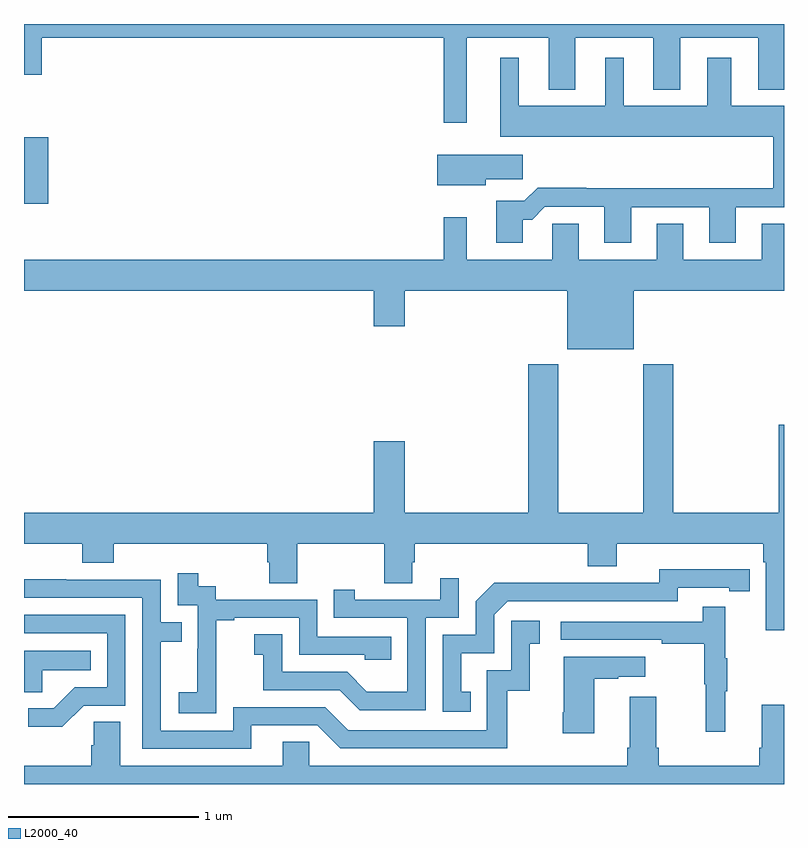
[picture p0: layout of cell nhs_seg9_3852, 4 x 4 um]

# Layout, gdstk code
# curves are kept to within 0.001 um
import gdstk
lib = gdstk.Library(unit=1e-6, precision=1e-09)
def R(c, l, rs):  # rectangles x0, y0, x1, y1
    for r in rs: c.add(gdstk.rectangle(r[:2], r[2:], *l))
def P(c, l, *ps):  # polygons
    for p in ps: c.add(gdstk.Polygon(p, *l))
L2000_40 = (2000, 40)

nhs_seg9_3852 = lib.new_cell('nhs_seg9_3852')
R(nhs_seg9_3852, L2000_40, [(331,1187.553,331.127,1187.905)])
P(nhs_seg9_3852, L2000_40, [(333.331,1188.428),(333.761,1188.428),(333.761,1188.155),(333.901,1188.155),(333.901,1188.428),(334.313,1188.428),(334.313,1188.155),(334.453,1188.155),(334.453,1188.428),(334.865,1188.428),(334.865,1188.155),(335,1188.155),(335,1188.5),(331,1188.5),(331,1188.234),(331.094,1188.234),(331.094,1188.428),(333.21,1188.428),(333.21,1187.979),(333.331,1187.979)],
  [(333.625,1187.471),(333.674,1187.471),(333.741,1187.538),(334.055,1187.538),(334.055,1187.349),(334.195,1187.349),(334.195,1187.535),(334.607,1187.535),(334.607,1187.349),(334.747,1187.349),(334.747,1187.535),(335,1187.535),(335,1188.07),(334.723,1188.07),(334.723,1188.322),(334.595,1188.322),(334.595,1188.07),(334.156,1188.07),(334.156,1188.322),(334.058,1188.322),(334.058,1188.07),(333.604,1188.07),(333.604,1188.322),(333.506,1188.322),(333.506,1187.906),(334.943,1187.906),(334.943,1187.636),(333.959,1187.636),(333.959,1187.639),(333.704,1187.639),(333.634,1187.569),(333.485,1187.569),(333.485,1187.349),(333.625,1187.349)],
  [(333.43,1187.683),(333.625,1187.683),(333.625,1187.812),(333.176,1187.812),(333.176,1187.651),(333.43,1187.651)],
  [(334.21,1187.096),(335,1187.096),(335,1187.45),(334.883,1187.45),(334.883,1187.26),(334.471,1187.26),(334.471,1187.45),(334.331,1187.45),(334.331,1187.26),(333.919,1187.26),(333.919,1187.45),(333.78,1187.45),(333.78,1187.26),(333.331,1187.26),(333.331,1187.482),(333.21,1187.482),(333.21,1187.26),(331,1187.26),(331,1187.096),(332.84,1187.096),(332.84,1186.908),(333.004,1186.908),(333.004,1187.096),(333.86,1187.096),(333.86,1186.787),(334.21,1186.787)],
  [(335,1186.39),(334.973,1186.39),(334.973,1185.928),(334.418,1185.928),(334.418,1186.708),(334.258,1186.708),(334.258,1185.928),(333.813,1185.928),(333.813,1186.708),(333.653,1186.708),(333.653,1185.928),(333.004,1185.928),(333.004,1186.303),(332.84,1186.303),(332.84,1185.928),(331,1185.928),(331,1185.764),(331.307,1185.764),(331.307,1185.665),(331.472,1185.665),(331.472,1185.764),(332.279,1185.764),(332.279,1185.666),(332.291,1185.666),(332.291,1185.556),(332.439,1185.556),(332.439,1185.764),(332.896,1185.764),(332.896,1185.556),(333.043,1185.556),(333.043,1185.666),(333.056,1185.666),(333.056,1185.764),(333.968,1185.764),(333.968,1185.647),(334.12,1185.647),(334.12,1185.764),(334.892,1185.764),(334.892,1185.668),(334.905,1185.668),(334.905,1185.309),(335,1185.309)],
  [(333.35,1184.985),(333.301,1184.985),(333.301,1185.189),(333.474,1185.189),(333.474,1185.39),(333.546,1185.462),(334.44,1185.462),(334.44,1185.534),(334.712,1185.534),(334.712,1185.514),(334.82,1185.514),(334.82,1185.63),(334.344,1185.631),(334.344,1185.558),(333.884,1185.558),(333.884,1185.56),(333.476,1185.56),(333.378,1185.462),(333.378,1185.285),(333.204,1185.285),(333.204,1184.88),(333.35,1184.88)],
  [(332.013,1185.079),(332.012,1185.079),(332.012,1185.363),(332.107,1185.363),(332.107,1185.375),(332.448,1185.375),(332.448,1185.18),(332.793,1185.18),(332.793,1185.153),(332.933,1185.153),(332.933,1185.276),(332.544,1185.276),(332.544,1185.471),(332.01,1185.471),(332.01,1185.54),(331.918,1185.54),(331.918,1185.61),(331.809,1185.61),(331.809,1185.441),(331.914,1185.441),(331.914,1185.212),(331.913,1185.212),(331.913,1184.983),(331.815,1184.983),(331.815,1184.873),(332.013,1184.873)],
  [(333.114,1185.375),(333.288,1185.375),(333.288,1185.583),(333.191,1185.583),(333.191,1185.471),(332.74,1185.471),(332.74,1185.523),(332.629,1185.523),(332.629,1185.375),(333.018,1185.375),(333.018,1184.986),(332.804,1184.986),(332.7,1185.09),(332.358,1185.09),(332.358,1185.289),(332.211,1185.289),(332.211,1185.179),(332.26,1185.179),(332.26,1184.994),(332.663,1184.994),(332.768,1184.889),(333.114,1184.889)],
  [(332.197,1184.808),(332.544,1184.808),(332.664,1184.688),(333.544,1184.688),(333.544,1184.991),(333.662,1184.991),(333.662,1185.237),(333.715,1185.237),(333.715,1185.358),(333.564,1185.358),(333.564,1185.099),(333.435,1185.099),(333.435,1184.784),(332.706,1184.784),(332.586,1184.904),(332.1,1184.904),(332.1,1184.781),(331.719,1184.781),(331.719,1185.25),(331.829,1185.25),(331.829,1185.351),(331.719,1185.351),(331.719,1185.576),(331.223,1185.576),(331.223,1185.578),(331,1185.578),(331,1185.48),(331.623,1185.48),(331.623,1184.685),(332.197,1184.685)],
  [(334.691,1184.987),(334.702,1184.987),(334.702,1185.161),(334.691,1185.161),(334.691,1185.433),(334.573,1185.433),(334.573,1185.354),(333.825,1185.354),(333.825,1185.258),(334.357,1185.258),(334.357,1185.238),(334.581,1185.238),(334.581,1185.024),(334.588,1185.024),(334.588,1184.775),(334.691,1184.775)],
  [(331.314,1184.913),(331.533,1184.913),(331.533,1185.39),(331,1185.39),(331,1185.294),(331.437,1185.294),(331.437,1185.009),(331.268,1185.009),(331.157,1184.898),(331.023,1184.898),(331.023,1184.801),(331.201,1184.801)],
  [(331.095,1185.098),(331.352,1185.098),(331.352,1185.202),(331,1185.202),(331,1184.983),(331.095,1184.983)],
  [(334,1185.055),(334.127,1185.055),(334.127,1185.065),(334.27,1185.065),(334.27,1185.169),(333.842,1185.169),(333.842,1184.878),(333.835,1184.878),(333.835,1184.766),(334,1184.766)],
  [(335,1184.917),(334.883,1184.917),(334.883,1184.692),(334.871,1184.692),(334.871,1184.596),(334.34,1184.596),(334.34,1184.692),(334.327,1184.692),(334.327,1184.959),(334.187,1184.959),(334.187,1184.692),(334.175,1184.692),(334.175,1184.596),(332.502,1184.596),(332.502,1184.723),(332.363,1184.723),(332.363,1184.596),(331.507,1184.596),(331.507,1184.828),(331.368,1184.828),(331.368,1184.705),(331.355,1184.705),(331.355,1184.596),(331,1184.596),(331,1184.5),(335,1184.5)])

lib.write_gds('nhs_seg9_3852.gds')
